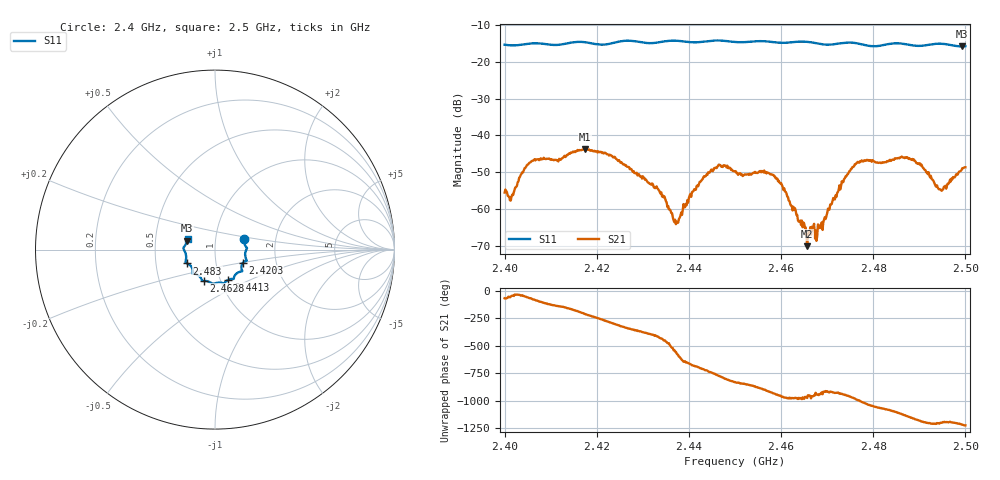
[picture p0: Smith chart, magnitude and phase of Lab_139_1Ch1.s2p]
# Hz S RI R 50
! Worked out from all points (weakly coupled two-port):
!   601 points, 2.4 GHz to 2.5 GHz, reference 50 ohm
!   highest |S21| = -43.82 dB at 2.4175 GHz (marker M1); lowest = -70.1 dB at 2.4657 GHz (marker M2)
!   lowest |S11| = -15.8 dB at 2.4993 GHz (marker M3), VSWR 1.39, Z = 36.5 + j3.7 ohm
!   |S11| at or under -10 dB: start of sweep to end of sweep
!   S12 and S22 are empty: the file has one direction only
!   S11 on the Smith chart (normalised r, x): 2.4 GHz: 1.37, +0.16; 2.4203 GHz: 1.35, -0.21; 2.4413 GHz: 1.09, -0.38; 2.4628 GHz: 0.83, -0.30; 2.483 GHz: 0.72, -0.11; 2.5 GHz: 0.73, +0.09
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2.4e9  0.1609 0.0569  0.000708 -0.00151  0 0  0 0
2.4015e9  0.1625 0.0405  0.00108 -0.00101  0 0  0 0
2.406e9  0.1779 0.0099  0.00136 -0.0043  0 0  0 0
2.416667e9  0.1762 -0.0613  -0.00603 0.00184  0 0  0 0
2.4175e9  0.1735 -0.0626  -0.0056 0.00318  0 0  0 0
2.420333e9  0.1553 -0.0741  -0.00227 0.00562  0 0  0 0
2.433333e9  0.1081 -0.1484  0.00104 -0.00153  0 0  0 0
2.437167e9  0.1029 -0.1642  -0.0006 0.000156  0 0  0 0
2.441333e9  0.0745 -0.1681  0.00153 0.000996  0 0  0 0
2.446333e9  0.049 -0.1888  0.0024 -0.00303  0 0  0 0
2.45e9  0.0293 -0.1838  -0.00119 -0.00305  0 0  0 0
2.458167e9  -0.0238 -0.1842  -0.00249 0.00152  0 0  0 0
2.462833e9  -0.063 -0.175  -0.000169 0.000963  0 0  0 0
2.465667e9  -0.0727 -0.172  -7.07e-05 0.000304  0 0  0 0
2.466667e9  -0.0743 -0.1676  -0.00028 0.000499  0 0  0 0
2.476167e9  -0.1249 -0.1295  -0.000208 0.00406  0 0  0 0
2.483e9  -0.155 -0.0769  0.00447 -0.000151  0 0  0 0
2.483333e9  -0.157 -0.0759  0.00443 -0.000425  0 0  0 0
2.488667e9  -0.1605 -0.0449  0.00047 -0.00457  0 0  0 0
2.494667e9  -0.1759 0.00939  -0.000988 -0.00154  0 0  0 0
2.499333e9  -0.1541 0.0493  -0.00277 -0.00227  0 0  0 0
2.5e9  -0.1524 0.0586  -0.00311 -0.00198  0 0  0 0
